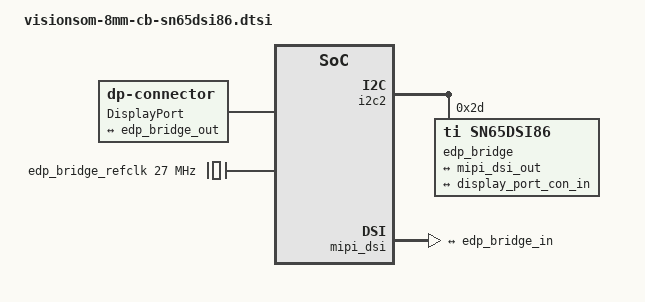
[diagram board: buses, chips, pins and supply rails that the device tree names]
// SPDX-License-Identifier: GPL-2.0-or-later
/*
 * Copyright 2025 SomLabs
 *
 */

/ {
    /delete-node/ panel-backlight;

    dp_connector {
        compatible = "dp-connector";
        label = "DisplayPort";
        type = "full-size";

        port {
            display_port_con_in: endpoint {
                remote-endpoint = <&edp_bridge_out>;
            };
        };
    };

    edp_bridge_refclk: edp-bridge-refclk {
        compatible = "fixed-clock";
        #clock-cells = <0>;
        clock-frequency = <27000000>;
    };

};

&pwm2 {
    status = "disabled";
};

&i2c2 {
    /delete-node/ edt-ft5x06@38;

    /* MIPI-DSI to HDMI adapter */
    edp_bridge: bridge@2d {
        compatible = "ti,sn65dsi86";
        reg = <0x2d>;
        pinctrl-names = "default";

        clock-names = "refclk";
        clocks = <&edp_bridge_refclk>;

        no-hpd; /* HPD routed to processor GPIO! */

        ports {
            #address-cells = <1>;
            #size-cells = <0>;
            port@0 {
                reg = <0>;
                edp_bridge_in: endpoint {
                    remote-endpoint = <&mipi_dsi_out>;
                };
            };
            port@1 {
                reg = <1>;
                edp_bridge_out: endpoint {
                    data-lanes = <3 2 1 0>;
                    lane-polarities = <1 1 1 1>;
                    remote-endpoint = <&display_port_con_in>;
                };
            };
        };
    };
};

&mipi_dsi {
    status = "okay";

    /delete-node/ panel@0;

    port@1 {
        mipi_dsi_out: endpoint {
            remote-endpoint = <&edp_bridge_in>;
            attach-bridge;
        };
    };
};
